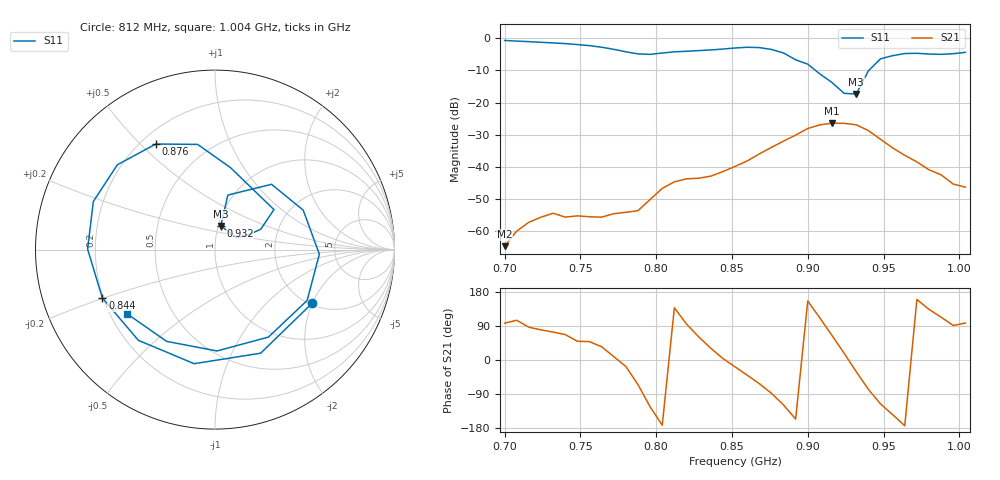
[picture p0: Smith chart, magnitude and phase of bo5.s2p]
# Hz S RI R 50
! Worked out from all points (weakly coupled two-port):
!   39 points, 700 MHz to 1.004 GHz, reference 50 ohm
!   highest |S21| = -26.45 dB at 916 MHz (marker M1); lowest = -64.9 dB at 700 MHz (marker M2)
!   lowest |S11| = -17.4 dB at 932 MHz (marker M3), VSWR 1.31, Z = 51.4 + j13.8 ohm
!   |S11| at or under -10 dB: 905.2 MHz to 940.2 MHz (35.07 MHz wide, 3.8 % of centre)
!   S12 and S22 are empty: the file has one direction only
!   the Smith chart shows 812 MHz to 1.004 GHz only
!   S11 on the Smith chart (normalised r, x): 812 MHz: 2.07, -2.00; 844 MHz: 0.20, -0.20; 876 MHz: 0.26, +0.56; 932 MHz: 1.03, +0.28; 1.004 GHz: 0.27, -0.30
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7e8  0.7644 0.531  -7.17e-05 0.000567  0 0  0 0
7.24e8  0.8306 -0.2627  0.000299 0.00159  0 0  0 0
7.4e8  0.4427 -0.7032  0.000633 0.0015  0 0  0 0
7.56e8  -0.1979 -0.7463  0.00109 0.00123  0 0  0 0
7.72e8  -0.6507 -0.1885  0.00181 0.00029  0 0  0 0
7.8e8  -0.5738 0.2311  0.00184 -0.000566  0 0  0 0
7.88e8  -0.2236 0.5294  0.000868 -0.00186  0 0  0 0
7.96e8  0.2563 0.5023  -0.00169 -0.00255  0 0  0 0
8.04e8  0.5735 0.151  -0.00452 -0.000615  0 0  0 0
8.12e8  0.5426 -0.2975  -0.00428 0.00389  0 0  0 0
8.28e8  -0.1161 -0.6357  0.00315 0.00577  0 0  0 0
8.44e8  -0.6276 -0.2693  0.00833 0.000582  0 0  0 0
8.52e8  -0.7097 0.00244  0.00955 -0.00308  0 0  0 0
8.76e8  -0.3298 0.5882  0.000803 -0.0199  0 0  0 0
9e8  0.3285 0.2228  -0.0358 0.0161  0 0  0 0
9.08e8  0.255 0.1135  -0.016 0.0419  0 0  0 0
9.16e8  0.1877 0.0832  0.0203 0.043  0 0  0 0
9.32e8  0.032 0.1318  0.0385 -0.023  0 0  0 0
9.48e8  0.315 0.3638  -0.0116 -0.024  0 0  0 0
9.56e8  0.4915 0.2199  -0.0159 -0.0114  0 0  0 0
9.8e8  0.298 -0.4873  -0.00614 0.00646  0 0  0 0
1.004e9  -0.4909 -0.357  -0.000625 0.00472  0 0  0 0
